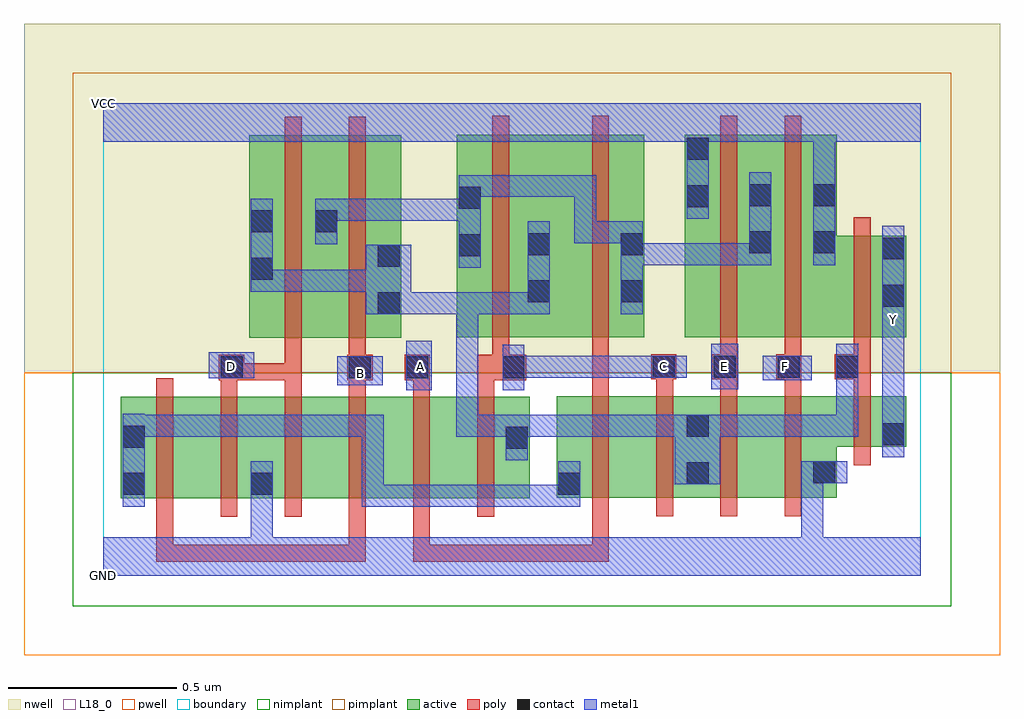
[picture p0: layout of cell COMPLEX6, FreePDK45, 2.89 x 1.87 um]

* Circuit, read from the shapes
.subckt COMPLEX6 A B C D E F GND VCC Y
M1 n1 B n2 VSUBS nfet w=0.3u l=0.05u
M2 GND D n1 VSUBS nfet w=0.3u l=0.05u
M3 n3 D GND VSUBS nfet w=0.3u l=0.05u
M4 n4 B n3 VSUBS nfet w=0.3u l=0.05u
M5 n5 A n4 VSUBS nfet w=0.3u l=0.05u
M6 n6 C n5 VSUBS nfet w=0.3u l=0.05u
M7 n7 A n2 VSUBS nfet w=0.3u l=0.05u
M8 n6 C n7 VSUBS nfet w=0.3u l=0.05u
M9 n8 E n6 VSUBS nfet w=0.3u l=0.05u
M10 GND F n8 VSUBS nfet w=0.3u l=0.05u
M11 Y n6 GND VSUBS nfet w=0.15u l=0.05u
M12 n9 D n6 n10 pfet w=0.6u l=0.05u
M13 n6 B n9 n10 pfet w=0.6u l=0.05u
M14 n6 C n9 n10 pfet w=0.6u l=0.05u
M15 n9 A n6 n10 pfet w=0.6u l=0.05u
M16 n9 E VCC n10 pfet w=0.6u l=0.05u
M17 VCC F n9 n10 pfet w=0.6u l=0.05u
M18 Y n6 VCC n10 pfet w=0.3u l=0.05u
.ends

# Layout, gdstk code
import gdstk
lib = gdstk.Library(unit=1e-6, precision=1e-09)
def R(c, l, rs):  # rectangles x0, y0, x1, y1
    for r in rs: c.add(gdstk.rectangle(r[:2], r[2:], *l))
def A(c, l, x, y, w, h, nx, ny, dx, dy):  # array of equal rectangles
    R(c, l, [(x+i*dx, y+j*dy, x+i*dx+w, y+j*dy+h) for i in range(nx) for j in range(ny)])
active = (1, 0)
pwell = (2, 0)
nwell = (3, 0)
nimplant = (4, 0)
pimplant = (5, 0)
poly = (9, 0)
contact = (10, 0)
metal1 = (11, 0)
L18_0 = (18, 0)
boundary = (235, 0)

complex6 = lib.new_cell('COMPLEX6')
R(complex6, active, [(0.052,0.23,0.277,0.53), (0.277,0.23,0.507,0.53), (0.432,0.23,0.657,0.53), (0.432,0.23,0.507,0.517), (0.657,0.23,0.847,0.53), (0.847,0.23,1.037,0.53), (1.037,0.23,1.262,0.53), (1.342,0.232,1.567,0.532), (1.567,0.232,1.797,0.532), (1.722,0.232,1.947,0.532), (1.722,0.232,1.797,0.482), (1.947,0.232,2.172,0.532), (2.097,0.232,2.172,0.397), (0.052,0.235,0.127,0.53), (1.342,0.235,1.417,0.532), (1.187,0.247,1.262,0.53), (2.097,0.382,2.377,0.532), (2.302,0.382,2.377,0.532), (0.432,0.705,0.697,1.305), (0.432,0.705,0.507,1.2), (0.622,0.705,0.882,1.305), (0.807,0.705,0.882,1.07), (0.622,0.707,0.697,1.2), (1.047,0.707,1.122,1.2), (1.047,0.707,1.327,1.307), (1.252,0.707,1.602,1.307), (1.252,0.707,1.327,1.07), (1.527,0.707,1.602,1.2), (1.722,0.707,1.797,1.307), (1.722,0.707,1.982,1.307), (1.907,0.707,2.172,1.307), (1.907,0.707,1.982,1.2), (2.097,0.707,2.377,1.007), (2.097,0.707,2.172,1.307), (2.302,0.707,2.377,1.007)])
R(complex6, pwell, [(-0.235,-0.235,2.655,0.602)])
R(complex6, nwell, [(-0.235,0.602,2.655,1.635)])
R(complex6, nimplant, [(-0.09,-0.09,2.51,0.602)])
R(complex6, pimplant, [(-0.09,0.602,2.51,1.49)])
A(complex6, poly, 0.157, 0.175, 0.05, 0.41, 6, 1, 0.19, 0)
A(complex6, poly, 1.447, 0.177, 0.05, 0.41, 4, 1, 0.19, 0)
A(complex6, poly, 0.347, 0.535, 0.05, 0.095, 5, 1, 0.19, 0)
A(complex6, poly, 1.637, 0.537, 0.05, 0.095, 3, 1, 0.19, 0)
R(complex6, poly, [(0.157,0.042,0.207,0.092), (0.157,0.042,0.207,0.092), (0.157,0.042,0.207,0.092), (0.157,0.042,0.207,0.225), (0.157,0.042,0.417,0.092), (0.367,0.042,0.417,0.092), (0.367,0.042,0.417,0.092), (0.367,0.042,0.417,0.092), (0.367,0.042,0.55,0.092), (0.5,0.042,0.55,0.092), (0.5,0.042,0.777,0.092), (0.727,0.042,0.777,0.092), (0.727,0.042,0.777,0.092), (0.727,0.042,0.777,0.092), (0.727,0.042,0.777,0.225), (0.917,0.042,0.967,0.092), (0.917,0.042,0.967,0.092), (0.917,0.042,0.967,0.092), (0.917,0.042,1.1,0.092), (0.917,0.042,0.967,0.225), (1.05,0.042,1.1,0.092), (1.05,0.042,1.1,0.092), (1.05,0.042,1.1,0.092), (1.05,0.042,1.497,0.092), (1.447,0.042,1.497,0.092), (1.447,0.042,1.497,0.092), (1.447,0.042,1.497,0.092), (1.447,0.042,1.497,0.227), (2.222,0.327,2.272,0.587), (1.447,0.537,1.497,0.657), (2.222,0.537,2.272,0.632), (0.342,0.58,0.417,0.655), (0.367,0.58,0.587,0.63), (0.537,0.58,0.587,0.7), (0.537,0.58,0.587,0.63), (0.537,0.58,0.587,0.63), (0.537,0.58,0.587,0.63), (0.722,0.58,0.797,0.655), (0.892,0.58,0.967,0.655), (1.107,0.58,1.252,0.655), (1.622,0.582,1.697,0.657), (1.802,0.582,1.877,0.657), (1.992,0.582,2.067,0.657), (2.165,0.582,2.272,0.657), (0.727,0.605,0.777,0.7), (1.152,0.605,1.202,0.702), (1.447,0.607,1.497,0.702), (1.447,0.607,1.497,0.657), (1.827,0.607,1.877,0.702), (2.017,0.607,2.067,0.702), (2.222,0.607,2.272,0.702), (0.537,0.65,0.587,1.36), (0.727,0.65,0.777,1.36), (1.152,0.652,1.202,1.362), (1.447,0.652,1.497,1.362), (1.827,0.652,1.877,1.362), (2.017,0.652,2.067,1.362), (2.222,0.652,2.272,1.062)])
R(complex6, contact, [(0.057,0.24,0.122,0.305), (0.437,0.24,0.502,0.305), (1.347,0.24,1.412,0.305), (1.727,0.272,1.792,0.337), (2.102,0.275,2.167,0.34), (1.192,0.377,1.257,0.442), (0.057,0.38,0.122,0.445), (2.307,0.387,2.372,0.452), (1.727,0.412,1.792,0.477), (0.347,0.585,0.412,0.65), (0.727,0.585,0.792,0.65), (0.897,0.585,0.962,0.65), (1.182,0.585,1.247,0.65), (1.627,0.587,1.692,0.652), (1.807,0.587,1.872,0.652), (1.997,0.587,2.062,0.652), (2.17,0.587,2.235,0.652), (0.812,0.775,0.877,0.84), (2.307,0.797,2.372,0.862), (1.257,0.81,1.322,0.875), (1.532,0.81,1.597,0.875), (0.437,0.877,0.502,0.942), (0.812,0.915,0.877,0.98), (2.307,0.937,2.372,1.002), (1.052,0.947,1.117,1.012), (1.257,0.95,1.322,1.015), (1.532,0.95,1.597,1.015), (1.912,0.955,1.977,1.02), (2.102,0.955,2.167,1.02), (0.437,1.017,0.502,1.082), (0.627,1.017,0.692,1.082), (1.052,1.087,1.117,1.152), (1.727,1.092,1.792,1.157), (1.912,1.095,1.977,1.16), (2.102,1.095,2.167,1.16), (1.727,1.232,1.792,1.297)])
R(complex6, metal1, [(0,0,2.42,0.115), (0.437,0.05,0.502,0.27), (2.067,0.05,2.132,0.34), (0.057,0.205,0.122,0.48), (0.437,0.205,0.502,0.27), (0.437,0.205,0.502,0.27), (0.437,0.205,0.502,0.34), (0.765,0.205,0.83,0.27), (0.765,0.205,0.83,0.27), (0.765,0.205,0.83,0.27), (0.765,0.205,1.05,0.27), (0.765,0.205,0.83,0.477), (0.985,0.205,1.05,0.27), (0.985,0.205,1.255,0.27), (1.19,0.205,1.255,0.27), (1.19,0.205,1.255,0.27), (1.19,0.205,1.255,0.27), (1.19,0.205,1.412,0.27), (1.347,0.205,1.412,0.34), (1.692,0.272,1.827,0.477), (2.067,0.275,2.132,0.34), (2.067,0.275,2.132,0.34), (2.067,0.275,2.202,0.34), (1.192,0.342,1.257,0.477), (2.307,0.352,2.372,0.487), (0.057,0.412,0.122,0.477), (0.057,0.412,0.122,0.477), (0.057,0.412,0.365,0.477), (0.3,0.412,0.365,0.477), (0.3,0.412,0.365,0.477), (0.3,0.412,0.365,0.477), (0.3,0.412,0.555,0.477), (0.49,0.412,0.555,0.477), (0.49,0.412,0.555,0.477), (0.49,0.412,0.555,0.477), (0.49,0.412,0.692,0.477), (0.627,0.412,0.692,0.477), (0.627,0.412,0.692,0.477), (0.627,0.412,0.692,0.477), (0.627,0.412,0.83,0.477), (0.765,0.412,0.83,0.477), (1.045,0.412,1.11,0.477), (1.045,0.412,1.11,0.477), (1.045,0.412,1.11,0.477), (1.045,0.412,1.257,0.477), (1.045,0.412,1.11,0.84), (1.192,0.412,1.257,0.477), (1.192,0.412,1.257,0.477), (1.192,0.412,1.46,0.477), (1.395,0.412,1.46,0.477), (1.395,0.412,1.46,0.477), (1.395,0.412,1.46,0.477), (1.395,0.412,1.597,0.477), (1.532,0.412,1.597,0.477), (1.532,0.412,1.597,0.477), (1.532,0.412,1.597,0.477), (1.532,0.412,1.757,0.477), (1.762,0.412,1.827,0.477), (1.762,0.412,1.827,0.477), (1.762,0.412,1.965,0.477), (1.9,0.412,1.965,0.477), (1.9,0.412,1.965,0.477), (1.9,0.412,1.965,0.477), (1.9,0.412,2.235,0.477), (2.17,0.412,2.235,0.477), (2.17,0.412,2.235,0.617), (2.307,0.422,2.372,0.757), (0.897,0.55,0.972,0.697), (1.182,0.55,1.247,0.685), (1.8,0.552,1.88,0.687), (2.17,0.552,2.235,0.617), (2.17,0.552,2.235,0.617), (2.17,0.552,2.235,0.687), (0.692,0.565,0.827,0.65), (1.952,0.58,2.097,0.652), (0.312,0.585,0.447,0.662), (1.182,0.587,1.322,0.652), (1.257,0.587,1.322,0.652), (1.257,0.587,1.46,0.652), (1.395,0.587,1.46,0.652), (1.395,0.587,1.46,0.652), (1.395,0.587,1.46,0.652), (1.395,0.587,1.62,0.652), (1.555,0.587,1.62,0.652), (1.555,0.587,1.657,0.652), (1.592,0.587,1.727,0.652), (2.307,0.692,2.372,0.827), (2.307,0.762,2.372,0.827), (2.307,0.762,2.372,1.037), (0.777,0.775,0.912,0.98), (0.847,0.775,0.912,0.84), (0.847,0.775,0.912,0.84), (0.847,0.775,1.11,0.84), (1.045,0.775,1.11,0.84), (1.045,0.775,1.11,0.84), (1.045,0.775,1.11,0.84), (1.045,0.775,1.322,0.84), (1.257,0.775,1.322,1.05), (1.532,0.775,1.597,1.05), (0.437,0.842,0.502,0.907), (0.437,0.842,0.502,0.907), (0.437,0.842,0.502,1.117), (0.437,0.842,0.692,0.907), (0.627,0.842,0.692,0.907), (0.627,0.842,0.692,0.907), (0.627,0.842,0.692,0.907), (0.627,0.842,0.842,0.907), (1.052,0.912,1.117,1.187), (1.532,0.92,1.597,0.985), (1.532,0.92,1.597,0.985), (1.532,0.92,1.827,0.985), (1.762,0.92,1.827,0.985), (1.762,0.92,1.827,0.985), (1.762,0.92,1.827,0.985), (1.762,0.92,1.977,0.985), (1.912,0.92,1.977,1.195), (2.102,0.92,2.167,1.195), (0.627,0.982,0.692,1.117), (1.395,0.985,1.46,1.05), (1.395,0.985,1.46,1.05), (1.395,0.985,1.46,1.05), (1.395,0.985,1.597,1.05), (1.395,0.985,1.46,1.187), (0.627,1.052,0.692,1.117), (0.627,1.052,0.692,1.117), (0.627,1.052,0.83,1.117), (0.765,1.052,0.83,1.117), (0.765,1.052,0.83,1.117), (0.765,1.052,0.83,1.117), (0.765,1.052,1.117,1.117), (1.727,1.057,1.792,1.332), (1.052,1.122,1.117,1.187), (1.052,1.122,1.117,1.187), (1.052,1.122,1.255,1.187), (1.19,1.122,1.255,1.187), (1.19,1.122,1.46,1.187), (1.395,1.122,1.46,1.187), (2.102,1.13,2.167,1.35), (1.727,1.267,1.792,1.35), (0,1.285,2.42,1.4)])
A(complex6, L18_0, 1.627, 0.587, 0.065, 0.065, 3, 1, 0.18, 0)
R(complex6, L18_0, [(0,0,2.42,0.115), (0.437,0.05,0.502,0.27), (2.067,0.05,2.132,0.34), (0.437,0.205,0.502,0.27), (0.437,0.205,0.502,0.27), (0.437,0.205,0.502,0.34), (2.067,0.275,2.132,0.34), (2.067,0.275,2.132,0.34), (2.067,0.275,2.202,0.34), (2.307,0.352,2.372,0.487), (2.307,0.422,2.372,0.757), (0.897,0.55,0.972,0.697), (1.182,0.55,1.247,0.685), (1.8,0.552,1.88,0.687), (0.692,0.565,0.827,0.65), (0.727,0.567,0.792,0.632), (1.952,0.58,2.097,0.652), (0.312,0.585,0.447,0.662), (0.347,0.587,0.412,0.652), (0.907,0.587,0.972,0.652), (1.182,0.587,1.322,0.652), (1.257,0.587,1.322,0.652), (1.257,0.587,1.46,0.652), (1.395,0.587,1.46,0.652), (1.395,0.587,1.46,0.652), (1.395,0.587,1.46,0.652), (1.395,0.587,1.62,0.652), (1.555,0.587,1.62,0.652), (1.555,0.587,1.657,0.652), (1.592,0.587,1.727,0.652), (2.307,0.692,2.372,0.827), (2.307,0.727,2.372,0.792), (2.307,0.762,2.372,0.827), (2.307,0.762,2.372,1.037), (2.102,0.92,2.167,1.195), (1.727,1.057,1.792,1.332), (2.102,1.13,2.167,1.35), (1.727,1.267,1.792,1.35), (0,1.285,2.42,1.4)])
R(complex6, boundary, [(0,0,2.42,1.4)])
complex6.add(gdstk.Label('A', (0.94,0.62), layer=11, texttype=0))
complex6.add(gdstk.Label('B', (0.76,0.6), layer=11, texttype=0))
complex6.add(gdstk.Label('C', (1.66,0.62), layer=11, texttype=0))
complex6.add(gdstk.Label('D', (0.38,0.62), layer=11, texttype=0))
complex6.add(gdstk.Label('E', (1.84,0.62), layer=11, texttype=0))
complex6.add(gdstk.Label('F', (2.02,0.62), layer=11, texttype=0))
complex6.add(gdstk.Label('Y', (2.34,0.76), layer=11, texttype=0))
complex6.add(gdstk.Label('VCC', (0,1.4), layer=11, texttype=0))
complex6.add(gdstk.Label('GND', (0,0), layer=11, texttype=0))

lib.write_gds('COMPLEX6.gds')
